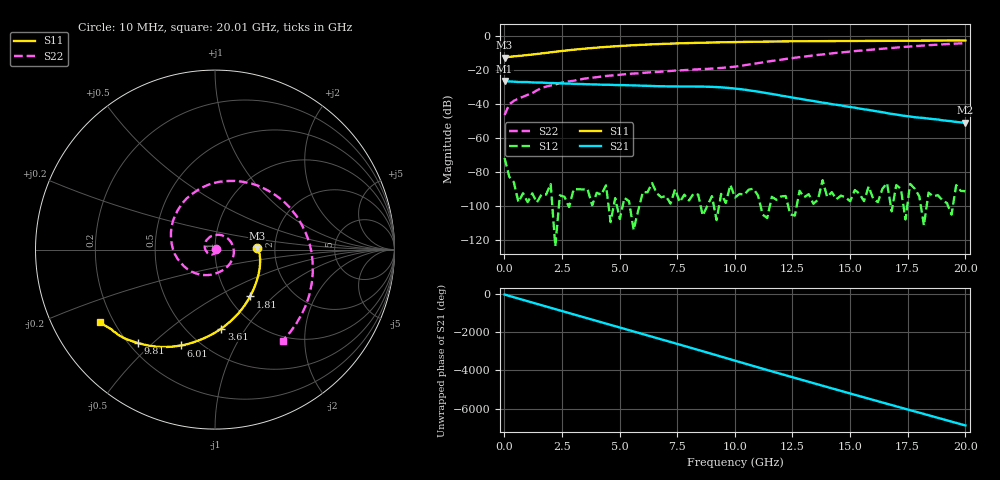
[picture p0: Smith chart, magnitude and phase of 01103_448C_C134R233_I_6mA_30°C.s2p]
!;Filter: kein Filter
!auto
!3/21/2019 9:27:54 AM
!3/21/2019 9:28:10 AM
!SP-Measurements Prober G4
!SP-Measurements Prober G4
!01103_448C
!134
!233
!12
!30
!-20
!0.00599970
!2.02
!0.74959551
!0.74959551
# Hz S  RI  R 50
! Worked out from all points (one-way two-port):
!   101 points, 10 MHz to 20.01 GHz, reference 50 ohm
!   highest |S21| = -26.30 dB at 10 MHz (marker M1); lowest = -50.8 dB at 20.01 GHz (marker M2)
!   lowest |S11| = -12.6 dB at 10 MHz (marker M3), VSWR 1.61, Z = 80.5 + j1.12 ohm
!   |S11| at or under -10 dB: start of sweep to 1.646 GHz
!   |S22| runs from -46.3 to -4.0 dB; largest |S21 - S12| = 0.048
!   S11 on the Smith chart (normalised r, x): 10 MHz: 1.61, +0.02; 1.81 GHz: 1.25, -0.73; 3.61 GHz: 0.72, -0.78; 6.01 GHz: 0.40, -0.63; 9.81 GHz: 0.24, -0.45; 20.01 GHz: 0.15, -0.28
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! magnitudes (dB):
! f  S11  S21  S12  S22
! 10 MHz  -12.6  -26.3  -71.7  -46.3
! 210 MHz  -12.1  -26.6  -82.6  -40.0
! 410 MHz  -11.8  -26.7  -85.8  -38.0
! 610 MHz  -11.5  -26.9  -97.6  -36.6
! 1.21 GHz  -10.7  -27.1  -92.5  -33.4
! 1.61 GHz  -10.1  -27.2  -93.1  -30.4
! 1.81 GHz  -9.7  -27.4  -93.2  -29.6
! 2.61 GHz  -8.4  -27.8  -94.5  -26.9
! 3.41 GHz  -7.3  -28.1  -90.1  -25.1
! 3.61 GHz  -7.1  -28.2  -89.9  -24.6
! 4.41 GHz  -6.2  -28.5  -87.7  -23.3
! 6.01 GHz  -4.9  -29.1  -91.6  -21.5
! 6.81 GHz  -4.5  -29.4  -94.8  -20.8
! 8.81 GHz  -3.7  -29.7  -99.7  -19.2
! 9.81 GHz  -3.4  -30.5  -87.5  -18.1
! 10.01 GHz  -3.4  -30.7  -94.9  -17.8
! 11.01 GHz  -3.2  -32.5  -93.7  -15.8
! 13.41 GHz  -2.8  -38.1  -98.6  -11.3
! 15.21 GHz  -2.7  -42.0  -90.5  -8.7
! 16.81 GHz  -2.6  -45.6  -103.0  -6.8
! 17.81 GHz  -2.5  -47.6  -89.7  -5.8
! 20.01 GHz  -2.4  -50.8  -91.2  -4.0
